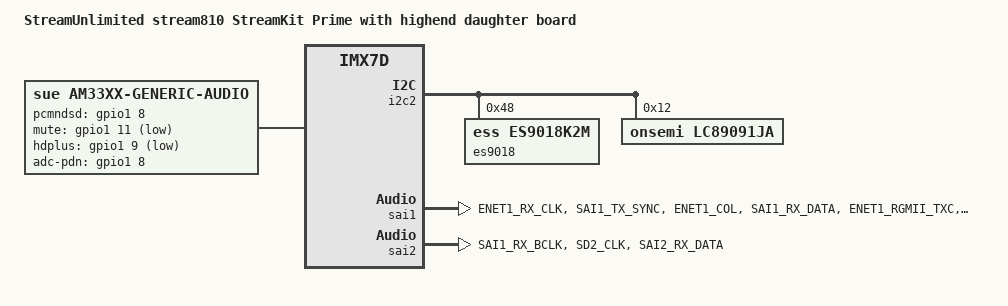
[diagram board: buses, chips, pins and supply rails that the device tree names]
/*
 * This program is free software; you can redistribute it and/or modify
 * it under the terms of the GNU General Public License version 2 as
 * published by the Free Software Foundation.
 */

#include <dt-bindings/input/input.h>

/ {
	model = "StreamUnlimited stream810 StreamKit Prime with highend daughter board";
	compatible = "sue,streamkitprime-highend", "sue,streamkitprime", "sue,stream810", "fsl,imx7d";

	audio {
		pinctrl-names = "default";
		pinctrl-0 = <&pinctrl_audio>;

		compatible = "sue,am33xx-generic-audio";
		sue,card-name = "Stream Audio on imx7";

		clocks = <&clks IMX7D_AUDIO_MCLK_ROOT_CLK>,
			 <&clks IMX7D_AUDIO_MCLK_ROOT_CLK>,
			 <&clks IMX7D_PLL_AUDIO_POST_DIV>;
		clock-names = "mclk", "mclk_rx", "pll";

		assigned-clocks = <&clks IMX7D_AUDIO_MCLK_ROOT_SRC>,
				  <&clks IMX7D_AUDIO_MCLK_ROOT_CLK>;
		assigned-clock-parents = <&clks IMX7D_PLL_AUDIO_POST_DIV>;
		assigned-clock-rates = <0>, <24576000>;

		sue,early-mclk;
		sue,pcmndsd-gpios = <&gpio1 8 GPIO_ACTIVE_HIGH>;
		sue,mute-gpios = <&gpio1 11 GPIO_ACTIVE_LOW>;
		sue,hdplus-gpios = <&gpio1 9 GPIO_ACTIVE_LOW>;

		sue,adc-pdn-gpio = <&gpio1 8 0>;

		links {
			sai1_link: link@0 {
				sue,name = "analog1";
				sue,stream-name = "I2S1";

				sue,platform = <&sai1>;
				sue,cpu-dai-name = "308a0000.sai";
				sue,continuous-clock;

				sue,dai-links {
					/* I2S/DSD output */
					link@0 {
						sue,codec = <&es9018>;
						sue,codec-dai-name = "ESS ES9018K2M Sabre";
					};

					/* I2S input */
					link@1 {
						sue,codec = <&pcm_dummy1>;
						sue,codec-dai-name = "Dummy PCM Codec";
					};
				};
			};

			sai2_link: link@1 {
				sue,name = "analog2";
				sue,stream-name = "I2S2";

				sue,platform = <&sai2>;
				sue,cpu-dai-name = "308b0000.sai";
				sue,codec = <&lc89091ja>;
				sue,codec-dai-name = "LC89091JA";
			};

			sai3_link: link@3 {
				sue,name = "analog3";
				sue,stream-name = "I2S2";

				sue,platform = <&sai3>;
				sue,cpu-dai-name = "308c0000.sai";
				sue,codec = <&pcm_dummy2>;
				sue,codec-dai-name = "Dummy PCM Codec";

				sue,codec-is-bfclk-master;
			};
		};
	};

	pcm_dummy1: pcm_dummy1 {
		compatible = "sue,pcm_dummy";
		max-channels = <2>;
	};

	pcm_dummy2: pcm_dummy2 {
		compatible = "sue,pcm_dummy";
		max-channels = <2>;
	};
};

&i2c2 {
	/* High-end board additions */
	es9018: es9018@48 {
		compatible = "ess,es9018k2m";
		reg = <0x48>;
	};

	lc89091ja: lc89091ja@12 {
		compatible = "onsemi,lc89091ja";
		reg = <0x12>;
	};
};

/*
 * NOTES for the last number in every line:
 * 	PAD_CTL_PUS_100K_DOWN	(0 << 5)
 * 	PAD_CTL_PUS_5K_UP	(1 << 5)
 * 	PAD_CTL_PUS_47K_UP	(2 << 5)
 * 	PAD_CTL_PUS_100K_UP	(3 << 5)
 * 	PAD_CTL_PUE		(1 << 4)
 * 	PAD_CTL_HYS		(1 << 3)
 * 	PAD_CTL_SRE_SLOW	(1 << 2)
 * 	PAD_CTL_SRE_FAST	(0 << 2)
 * 	PAD_CTL_DSE_X1		(0 << 0) \
 * 	PAD_CTL_DSE_X2		(2 << 0)  |___ NOTE: the numbering here is not a typo!
 * 	PAD_CTL_DSE_X4		(1 << 0)  |
 * 	PAD_CTL_DSE_X6		(3 << 0) /
 * 	NO_PAD_CTL		(1 << 31): indicate this pin does not need config.
 * 	SIO			(1 << 30): Software Input On Field.
 */
&iomuxc {
	imx7d-sue-streamkitprime-highend {
		pinctrl_audio: audiogrp {
			fsl,pins = <
				MX7D_PAD_GPIO1_IO08__GPIO1_IO8		0x00    /* PCM/nDSD */
				MX7D_PAD_GPIO1_IO11__GPIO1_IO11		0x00	/* NMUTE */
				MX7D_PAD_GPIO1_IO09__GPIO1_IO9		0x00	/* STANDARD/nHDPLUS */
			>;
		};

		pinctrl_dummy_codec1: dummy1grp {
			fsl,pins = <
				MX7D_PAD_GPIO1_IO11__GPIO1_IO11		0x00	/* NMUTE */
			>;
		};

		pinctrl_sai1_he: sai1hegrp {
 			fsl,pins = <
 				MX7D_PAD_ENET1_RX_CLK__SAI1_TX_BCLK	0x13	/* I2S_BCLK_OUT1_3 */
 				MX7D_PAD_SAI1_TX_SYNC__SAI1_TX_SYNC	0x13	/* I2S_WCLK_OUT1_3 */
 				MX7D_PAD_ENET1_COL__SAI1_TX_DATA0	0x13	/* I2S_DATA_OUT1 */
 				MX7D_PAD_SAI1_RX_DATA__SAI1_RX_DATA0	0x13	/* I2S_DATA_IN1 */
				MX7D_PAD_ENET1_RGMII_TXC__SAI1_RX_BCLK	0x13	/* I2S_BCLK_IN1_3 */
				MX7D_PAD_SAI1_RX_SYNC__SAI1_RX_SYNC	0x13	/* I2S_WCLK_IN1_3 */
 			>;
 		};

		pinctrl_sai2_he: sai2hegrp {
 			fsl,pins = <
 				MX7D_PAD_SAI1_RX_BCLK__SAI2_RX_BCLK	0x11	/* I2S_BCLK_IN2 */
 				MX7D_PAD_SD2_CLK__SAI2_RX_SYNC		0x11	/* I2S_WCLK_IN2 */
 				MX7D_PAD_SAI2_RX_DATA__SAI2_RX_DATA0	0x11	/* I2S_DATA_IN2 */
 			>;
 		};
	};
};

&sai1 {
	pinctrl-0 = <&pinctrl_sai1_he &pinctrl_sai1_mclk>;
	fsl,sai-asynchronous;
	sue,pdm-sync-slave = <&sai3>;
	/* Set a higher initial SAI clock to enable 384 kHz playback */
	assigned-clock-rates = <0>, <49152000>;
};

&sai2 {
	pinctrl-0 = <&pinctrl_sai2_he>;
	assigned-clock-rates = <0>, <49152000>;
};

&sai3 {
	sue,is-pdm-sync-slave;
	assigned-clock-rates = <0>, <49152000>;
};

&iomuxc_lpsr {
	imx7d-sue-streamkitprime-highend {
	};
};
